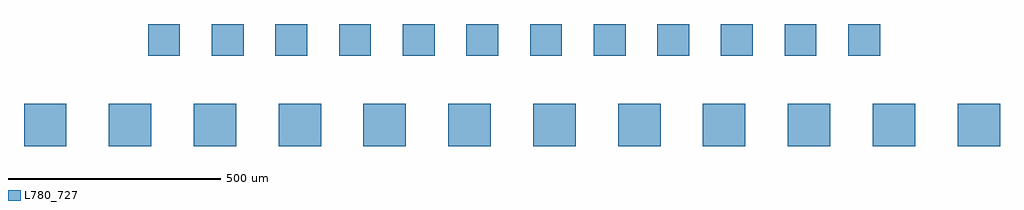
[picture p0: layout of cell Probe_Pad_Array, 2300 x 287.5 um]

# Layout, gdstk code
import gdstk
lib = gdstk.Library(unit=1e-6, precision=1e-09)
def R(c, l, rs):  # rectangles x0, y0, x1, y1
    for r in rs: c.add(gdstk.rectangle(r[:2], r[2:], *l))
L780_727 = (780, 727)

probe_pad = lib.new_cell('Probe_Pad')
R(probe_pad, L780_727, [(-37.5,-37.5,37.5,37.5)])

packaging_pad = lib.new_cell('Packaging_Pad')
R(packaging_pad, L780_727, [(-50,-50,50,50)])

probe_pad_array = lib.new_cell('Probe_Pad_Array')
r = gdstk.Reference(probe_pad, (280,200)); r.repetition = gdstk.Repetition(12, 1, v1=(150,0), v2=(0,0)); probe_pad_array.add(r)
r = gdstk.Reference(packaging_pad, (0,0)); r.repetition = gdstk.Repetition(12, 1, v1=(200,0), v2=(0,0)); probe_pad_array.add(r)

lib.write_gds('Probe_Pad_Array.gds')
